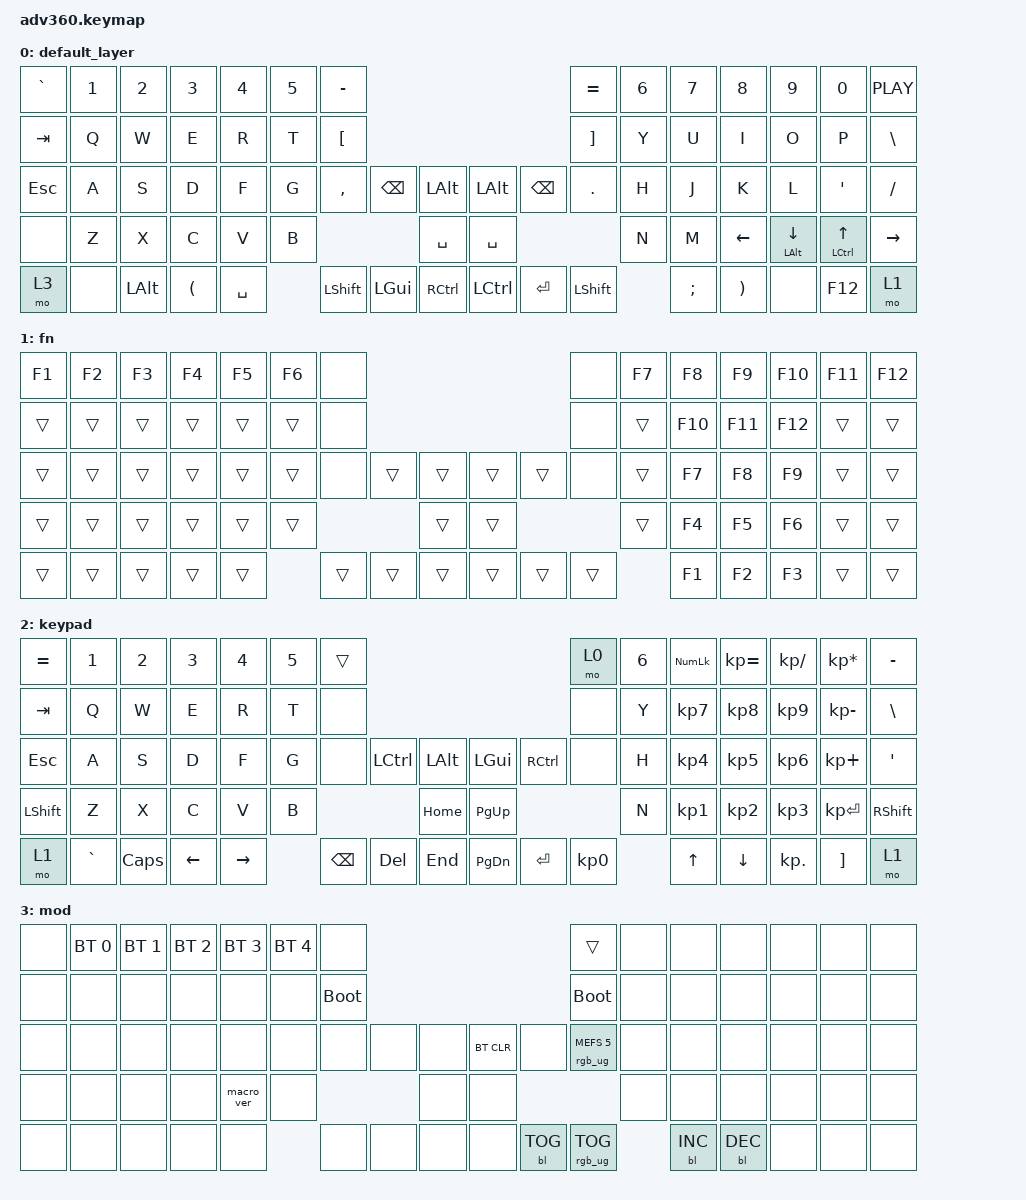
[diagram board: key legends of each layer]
#include <behaviors.dtsi>
#include <dt-bindings/zmk/backlight.h>
#include <dt-bindings/zmk/bt.h>
#include <dt-bindings/zmk/keys.h>
#include <dt-bindings/zmk/rgb.h>

&caps_word {
};

/ {
    behaviors {
        #include "macros.dtsi"
      #include "version.dtsi"
      #ifndef VERSION_MACRO

        macro_ver: macro_ver {
            compatible = "zmk,behavior-macro";
            label = "macro_version";
            #binding-cells = <0>;
            bindings = <&kp RET>;
        };

        #endif

        mrv1k: mrv1k {
            compatible = "zmk,behavior-mod-morph";
            label = "MRV1K";
            bindings = <&kp EXCLAMATION>, <&kp N1>;

            #binding-cells = <0>;
            mods = <(MOD_LSFT|MOD_RSFT)>;
        };

        mrv2k: mrv2k {
            compatible = "zmk,behavior-mod-morph";
            label = "MRV2K";
            bindings = <&kp AT_SIGN>, <&kp N2>;

            #binding-cells = <0>;
            mods = <(MOD_LSFT|MOD_RSFT)>;
        };

        mrv3k: mrv3k {
            compatible = "zmk,behavior-mod-morph";
            label = "MRV3K";
            bindings = <&kp HASH>, <&kp N3>;

            #binding-cells = <0>;
            mods = <(MOD_LSFT|MOD_RSFT)>;
        };

        mrv4k: mrv4k {
            compatible = "zmk,behavior-mod-morph";
            label = "MRV4K";
            bindings = <&kp DLLR>, <&kp N4>;

            #binding-cells = <0>;
            mods = <(MOD_LSFT|MOD_RSFT)>;
        };

        mrv5k: mrv5k {
            compatible = "zmk,behavior-mod-morph";
            label = "MRV5K";
            bindings = <&kp PERCENT>, <&kp N5>;

            #binding-cells = <0>;
            mods = <(MOD_LSFT|MOD_RSFT)>;
        };

        mrv6k: mrv6k {
            compatible = "zmk,behavior-mod-morph";
            label = "MRV6K";
            bindings = <&kp CARET>, <&kp N6>;

            #binding-cells = <0>;
            mods = <(MOD_LSFT|MOD_RSFT)>;
        };

        mrv7k: mrv7k {
            compatible = "zmk,behavior-mod-morph";
            label = "MRV7K";
            bindings = <&kp AMPERSAND>, <&kp N7>;

            #binding-cells = <0>;
            mods = <(MOD_LSFT|MOD_RSFT)>;
        };

        mrv8k: mrv8k {
            compatible = "zmk,behavior-mod-morph";
            label = "MRV8K";
            bindings = <&kp ASTERISK>, <&kp N8>;

            #binding-cells = <0>;
            mods = <(MOD_LSFT|MOD_RSFT)>;
        };

        mrv9k: mrv9k {
            compatible = "zmk,behavior-mod-morph";
            label = "MRV9K";
            bindings = <&kp LEFT_PARENTHESIS>, <&kp N9>;

            #binding-cells = <0>;
            mods = <(MOD_LSFT|MOD_RSFT)>;
        };

        mrv0k: mrv0k {
            compatible = "zmk,behavior-mod-morph";
            label = "MRV0K";
            bindings = <&kp RIGHT_PARENTHESIS>, <&kp N0>;

            #binding-cells = <0>;
            mods = <(MOD_LSFT|MOD_RSFT)>;
        };

        mrv_k: mrv_k {
            compatible = "zmk,behavior-mod-morph";
            label = "MRV_K";
            bindings = <&kp UNDERSCORE>, <&kp MINUS>;

            #binding-cells = <0>;
            mods = <(MOD_LSFT|MOD_RSFT)>;
        };

        mrvcurlybracketk_left: mrvcurlybracketk_left {
            compatible = "zmk,behavior-mod-morph";
            label = "MRVCURLYBRACKETK_LEFT";
            bindings = <&kp LEFT_BRACE>, <&kp LEFT_BRACKET>;

            #binding-cells = <0>;
            mods = <(MOD_LSFT|MOD_RSFT)>;
        };

        mrvcurlybracketk_right: mrvcurlybracketk_right {
            compatible = "zmk,behavior-mod-morph";
            label = "MRVCURLYBRACKETK_RIGHT";
            bindings = <&kp RIGHT_BRACE>, <&kp RIGHT_BRACKET>;

            #binding-cells = <0>;
            mods = <(MOD_LSFT|MOD_RSFT)>;
        };
    };

    macros {
    };

    combos {
        compatible = "zmk,combos";

        h. {
            bindings = <&kp ENTER>;
            key-positions = <39 40>;
        };

        g, {
            bindings = <&kp ENTER>;
            key-positions = <33 34>;
        };
    };

    keymap {
        compatible = "zmk,keymap";

        default_layer {
            bindings = <
&kp GRAVE  &kp N1  &kp N2        &kp N3                &kp N4     &kp N5  &kp MINUS                                                             &kp EQUAL          &kp N6  &kp N7    &kp N8                 &kp N9             &kp N0              &kp C_PLAY
&kp TAB    &kp Q   &kp W         &kp E                 &kp R      &kp T   &kp LEFT_BRACKET                                                      &kp RIGHT_BRACKET  &kp Y   &kp U     &kp I                  &kp O              &kp P               &kp BSLH
&kp ESC    &kp A   &kp S         &kp D                 &kp F      &kp G   &kp COMMA         &kp BSPC  &kp LEFT_ALT      &kp LEFT_ALT  &kp BSPC  &kp PERIOD         &kp H   &kp J     &kp K                  &kp L              &kp SINGLE_QUOTE    &kp SLASH
&none      &kp Z   &kp X         &kp C                 &kp V      &kp B                               &kp SPACE         &kp SPACE                                  &kp N   &kp M     &kp LEFT_ARROW         &mt LEFT_ALT DOWN  &mt LCTRL UP_ARROW  &kp RIGHT_ARROW
&mo 3      &none   &kp LEFT_ALT  &kp LEFT_PARENTHESIS  &kp SPACE          &kp LSHFT         &kp LGUI  &kp RCTRL         &kp LCTRL     &kp RET   &kp LEFT_SHIFT             &kp SEMI  &kp RIGHT_PARENTHESIS  &none              &kp F12             &mo 1
            >;
        };

        fn {
            bindings = <
&kp F1  &kp F2  &kp F3  &kp F4  &kp F5  &kp F6  &none                                       &none   &kp F7  &kp F8   &kp F9   &kp F10  &kp F11  &kp F12
&trans  &trans  &trans  &trans  &trans  &trans  &none                                       &none   &trans  &kp F10  &kp F11  &kp F12  &trans   &trans
&trans  &trans  &trans  &trans  &trans  &trans  &none   &trans  &trans      &trans  &trans  &none   &trans  &kp F7   &kp F8   &kp F9   &trans   &trans
&trans  &trans  &trans  &trans  &trans  &trans                  &trans      &trans                  &trans  &kp F4   &kp F5   &kp F6   &trans   &trans
&trans  &trans  &trans  &trans  &trans          &trans  &trans  &trans      &trans  &trans  &trans          &kp F1   &kp F2   &kp F3   &trans   &trans
            >;
        };

        keypad {
            bindings = <
&kp EQUAL  &kp N1     &kp N2    &kp N3    &kp N4     &kp N5  &trans                                                   &mo 0      &kp N6  &kp KP_NUM  &kp KP_EQUAL  &kp KP_DIVIDE  &kp KP_MULTIPLY  &kp MINUS
&kp TAB    &kp Q      &kp W     &kp E     &kp R      &kp T   &none                                                    &none      &kp Y   &kp KP_N7   &kp KP_N8     &kp KP_N9      &kp KP_MINUS     &kp BSLH
&kp ESC    &kp A      &kp S     &kp D     &kp F      &kp G   &none     &kp LCTRL  &kp LALT      &kp LGUI   &kp RCTRL  &none      &kp H   &kp KP_N4   &kp KP_N5     &kp KP_N6      &kp KP_PLUS      &kp SQT
&kp LSHFT  &kp Z      &kp X     &kp C     &kp V      &kp B                        &kp HOME      &kp PG_UP                        &kp N   &kp KP_N1   &kp KP_N2     &kp KP_N3      &kp KP_ENTER     &kp RSHFT
&mo 1      &kp GRAVE  &kp CAPS  &kp LEFT  &kp RIGHT          &kp BSPC  &kp DEL    &kp END       &kp PG_DN  &kp ENTER  &kp KP_N0          &kp UP      &kp DOWN      &kp KP_DOT     &kp RBKT         &mo 1
            >;
        };

        mod {
            bindings = <
&none  &bt BT_SEL 0  &bt BT_SEL 1  &bt BT_SEL 2  &bt BT_SEL 3  &bt BT_SEL 4  &none                                                  &trans                  &none  &none       &none       &none  &none  &none
&none  &none         &none         &none         &none         &none         &bootloader                                            &bootloader             &none  &none       &none       &none  &none  &none
&none  &none         &none         &none         &none         &none         &none        &none  &none      &bt BT_CLR  &none       &rgb_ug RGB_MEFS_CMD 5  &none  &none       &none       &none  &none  &none
&none  &none         &none         &none         &macro_ver    &none                             &none      &none                                           &none  &none       &none       &none  &none  &none
&none  &none         &none         &none         &none                       &none        &none  &none      &none       &bl BL_TOG  &rgb_ug RGB_TOG                &bl BL_INC  &bl BL_DEC  &none  &none  &none
            >;
        };
    };
};
